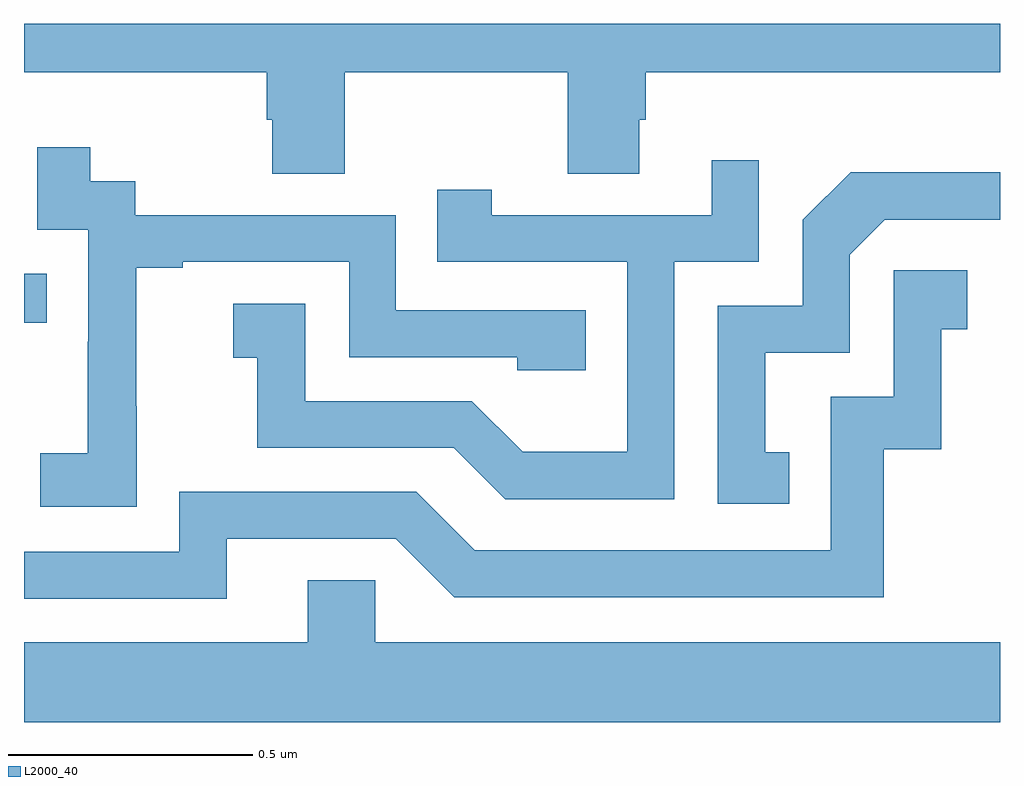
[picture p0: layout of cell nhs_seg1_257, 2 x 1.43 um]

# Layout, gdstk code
import gdstk
lib = gdstk.Library(unit=1e-6, precision=1e-09)
def R(c, l, rs):  # rectangles x0, y0, x1, y1
    for r in rs: c.add(gdstk.rectangle(r[:2], r[2:], *l))
def P(c, l, *ps):  # polygons
    for p in ps: c.add(gdstk.Polygon(p, *l))
L2000_40 = (2000, 40)

nhs_seg1_257 = lib.new_cell('nhs_seg1_257')
R(nhs_seg1_257, L2000_40, [(114,516.586,114.047,516.687)])
P(nhs_seg1_257, L2000_40, [(114.657,517.1),(115.114,517.1),(115.114,516.892),(115.261,516.892),(115.261,517.002),(115.274,517.002),(115.274,517.1),(116,517.1),(116,517.199),(114,517.199),(114,517.1),(114.497,517.1),(114.497,517.002),(114.509,517.002),(114.509,516.892),(114.657,516.892)],
  [(114.231,516.415),(114.23,516.415),(114.23,516.699),(114.325,516.699),(114.325,516.711),(114.666,516.711),(114.666,516.516),(115.011,516.516),(115.011,516.489),(115.151,516.489),(115.151,516.612),(114.762,516.612),(114.762,516.807),(114.228,516.807),(114.228,516.876),(114.136,516.876),(114.136,516.946),(114.027,516.946),(114.027,516.777),(114.132,516.777),(114.132,516.548),(114.131,516.548),(114.131,516.319),(114.033,516.319),(114.033,516.209),(114.231,516.209)],
  [(115.332,516.711),(115.506,516.711),(115.506,516.919),(115.409,516.919),(115.409,516.807),(114.958,516.807),(114.958,516.859),(114.847,516.859),(114.847,516.711),(115.236,516.711),(115.236,516.322),(115.022,516.322),(114.918,516.426),(114.576,516.426),(114.576,516.625),(114.429,516.625),(114.429,516.515),(114.478,516.515),(114.478,516.33),(114.881,516.33),(114.986,516.225),(115.332,516.225)],
  [(115.568,516.321),(115.519,516.321),(115.519,516.525),(115.692,516.525),(115.692,516.726),(115.764,516.798),(116,516.798),(116,516.895),(115.694,516.895),(115.596,516.798),(115.596,516.621),(115.422,516.621),(115.422,516.216),(115.568,516.216)],
  [(114.415,516.144),(114.762,516.144),(114.882,516.024),(115.762,516.024),(115.762,516.327),(115.88,516.327),(115.88,516.573),(115.933,516.573),(115.933,516.694),(115.782,516.694),(115.782,516.435),(115.653,516.435),(115.653,516.12),(114.924,516.12),(114.804,516.24),(114.318,516.24),(114.318,516.117),(114,516.117),(114,516.021),(114.415,516.021)],
  [(116,515.932),(114.72,515.932),(114.72,516.059),(114.581,516.059),(114.581,515.932),(114,515.932),(114,515.768),(116,515.768)])

lib.write_gds('nhs_seg1_257.gds')
